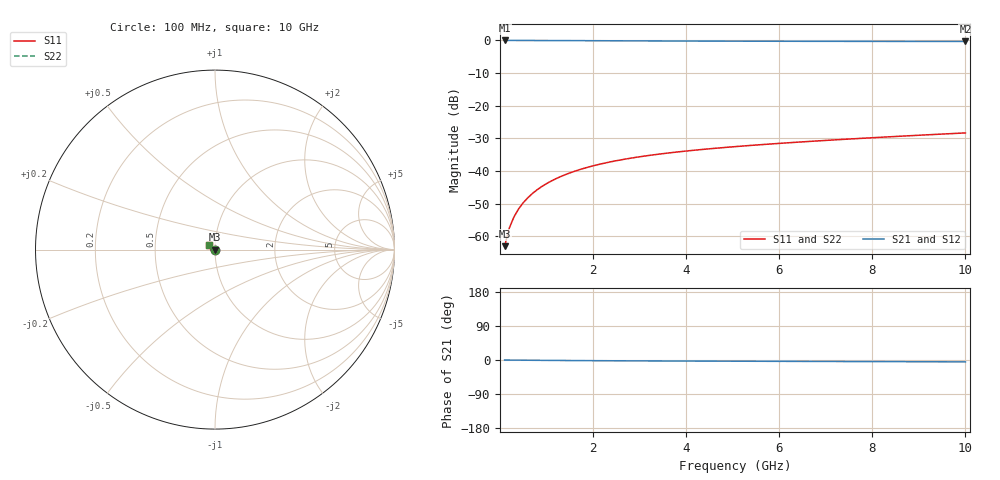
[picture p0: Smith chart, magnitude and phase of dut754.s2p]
! Touchstone file exported from HFSS 2024.1.0
!  File:  C:/UserFiles/LocalFiles/RDL_TSV_Batchsim/temp_TSV1_754_1779871584.aedt
!  Generated:  04:52:54 PM May 27, 2026
!  Design:  TSV1
!  Project:  temp_TSV1_754_1779871584
!  Setup:  Setup1
!  Solution:  Sweep
! Variables:
!  dtsv = 7.04um
!  hbump = 3um
!  htsv = 70.56um
!  lrdl = 252.1521522um
!  p = 40
!  p1 = 57.18um
!  t = 500um
!  trdl = 3um
!  wrdl = 24.89489489um
# GHz S MA R 50.000000
! Terminal data exported
! Port[1] = TSV22_T1
! Port[2] = TSV22_T2
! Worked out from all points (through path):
!   100 points, 100 MHz to 10 GHz, reference 50 ohm
!   highest |S21| = 0.00 dB at 100 MHz (marker M1); lowest = -0.3 dB at 10 GHz (marker M2)
!   lowest |S11| = -63.0 dB at 100 MHz (marker M3), VSWR 1.00, Z = 50 - j0.0666 ohm
!   |S11| at or under -10 dB: start of sweep to end of sweep
!   |S22| runs from -63.0 to -28.3 dB; largest |S21 - S12| = 2.5e-15
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0.1  0.0007074 -70.2  0.9997 -0.1  0.9997 -0.1  0.0007074 -70.2
! Gamma 0 0 0 0
! Port Impedance 50 0 50 0
0.2  0.001336 -83.3  0.9996 -0.2  0.9996 -0.2  0.001336 -83.3
0.3  0.001979 -89.6  0.9995 -0.3  0.9995 -0.3  0.001979 -89.6
0.4  0.002625 -93.9  0.9992 -0.4  0.9992 -0.4  0.002625 -93.9
0.5  0.003269 -97.5  0.999 -0.5  0.999 -0.5  0.003269 -97.5
0.6  0.00391 -100.7  0.9987 -0.6  0.9987 -0.6  0.00391 -100.7
0.7  0.004547 -103.6  0.9983 -0.7  0.9983 -0.7  0.004547 -103.6
0.8  0.005177 -106.3  0.9979 -0.8  0.9979 -0.8  0.005177 -106.3
0.9  0.005801 -109.0  0.9975 -0.9  0.9975 -0.9  0.005801 -109.0
1.1  0.007023 -114.0  0.9965 -1.1  0.9965 -1.1  0.007023 -114.0
1.4  0.008785 -121.0  0.9948 -1.3  0.9948 -1.3  0.008785 -121.0
1.6  0.009905 -125.4  0.9935 -1.5  0.9935 -1.5  0.009905 -125.4
1.8  0.01098 -129.7  0.9922 -1.6  0.9922 -1.6  0.01098 -129.7
2.1  0.01251 -135.8  0.9903 -1.8  0.9903 -1.8  0.01251 -135.8
2.5  0.01439 -143.4  0.9876 -2.1  0.9876 -2.1  0.01439 -143.4
2.9  0.01612 -150.4  0.9851 -2.3  0.9851 -2.3  0.01612 -150.4
3.4  0.01809 -158.4  0.9822 -2.5  0.9822 -2.5  0.01809 -158.4
4.2  0.02092 -169.7  0.9781 -2.9  0.9781 -2.9  0.02092 -169.7
5.1  0.0238 179.6  0.9746 -3.2  0.9746 -3.2  0.0238 179.6
6.7  0.02857 164.4  0.9701 -3.8  0.9701 -3.8  0.02857 164.4
8.4  0.03355 152.2  0.967 -4.4  0.967 -4.4  0.03355 152.2
10  0.03835 143.3  0.9648 -4.9  0.9648 -4.9  0.03835 143.3
